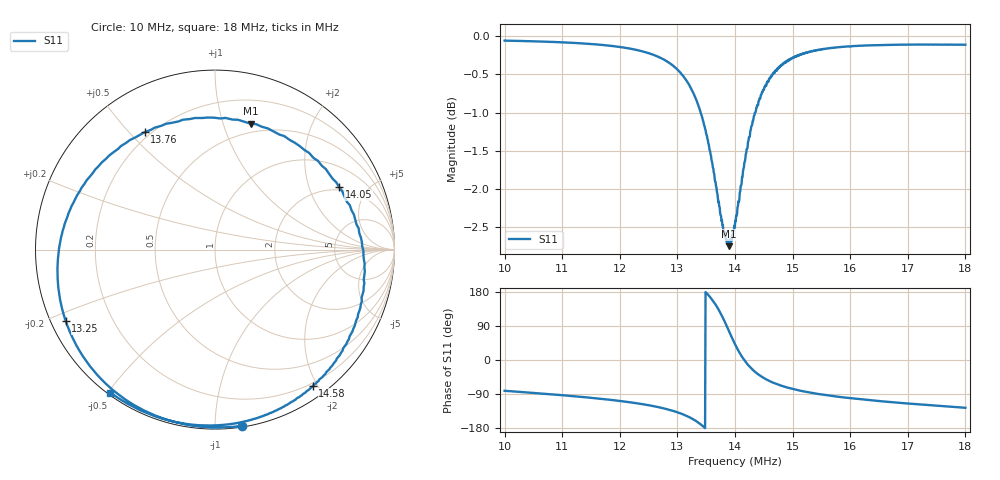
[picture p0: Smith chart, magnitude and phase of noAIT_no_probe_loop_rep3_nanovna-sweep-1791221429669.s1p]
! NanoVNA Web complex sweep
! Processing: unaveraged complex samples; linear segment spacing; no smoothing
# Hz S RI R 50
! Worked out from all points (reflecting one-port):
!   1010 points, 10 MHz to 18 MHz, reference 50 ohm
!   lowest |S11| = -2.7 dB at 13.9 MHz (marker M1), VSWR 6.38, Z = 20.7 + j62 ohm
!   phase of S11 starts at -81 deg and turns -405 deg over the sweep
!   S11 on the Smith chart (normalised r, x): 10 MHz: 0.01, -1.17; 13.25 MHz: 0.04, -0.23; 13.76 MHz: 0.18, +0.55; 14.05 MHz: 1.86, +3.23; 14.58 MHz: 0.16, -1.94; 18 MHz: 0.01, -0.51
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1e7  0.1509 -0.9817
1.100698e7  -0.0516 -0.9893
1.200604e7  -0.307 -0.9346
1.260071e7  -0.5183 -0.8219
1.282272e7  -0.6173 -0.7381
1.300509e7  -0.7082 -0.6339
1.325089e7  -0.8316 -0.3985
1.342533e7  -0.8779 -0.1193
1.355219e7  -0.8296 0.1646
1.365527e7  -0.6794 0.4287
1.375835e7  -0.392 0.6544
1.382971e7  -0.1119 0.7333
1.390107e7  0.2003 0.7009
1.394864e7  0.386 0.6324
1.400414e7  0.5734 0.4947
1.405172e7  0.6923 0.3471
1.410722e7  0.7811 0.167
1.416272e7  0.8269 -0.0053
1.422616e7  0.8323 -0.1865
1.431338e7  0.7869 -0.3937
1.444024e7  0.6786 -0.6072
1.458296e7  0.5448 -0.7584
1.477326e7  0.3851 -0.8744
1.50032e7  0.2262 -0.9407
1.543929e7  0.00825 -0.9796
1.600225e7  -0.1828 -0.9672
1.700131e7  -0.4148 -0.8959
1.800036e7  -0.5823 -0.7971
